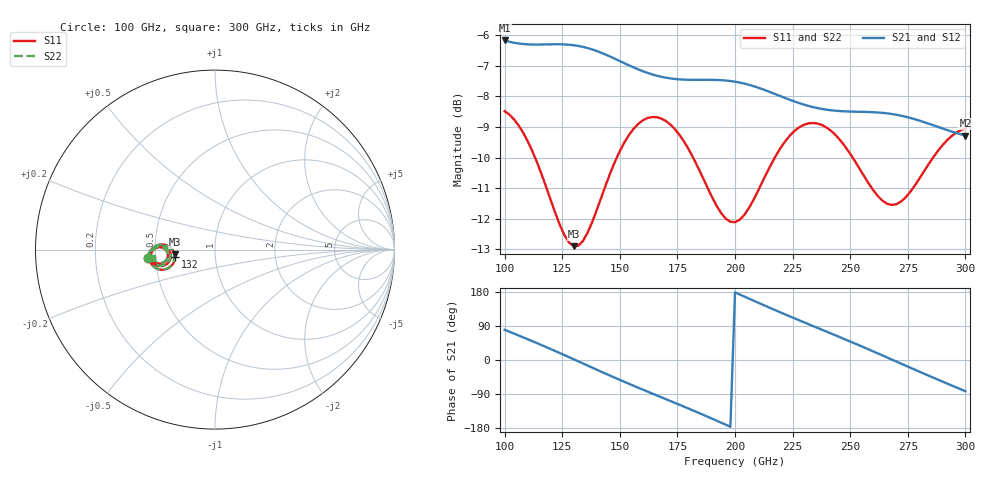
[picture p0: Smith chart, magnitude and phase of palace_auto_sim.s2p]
#  GHZ S DB R 50
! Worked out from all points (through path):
!   101 points, 100 GHz to 300 GHz, reference 50 ohm
!   highest |S21| = -6.17 dB at 100 GHz (marker M1); lowest = -9.3 dB at 300 GHz (marker M2)
!   group delay of S21, straight-line fit = 7.26 ps
!   lowest |S11| = -12.9 dB at 130 GHz (marker M3), VSWR 1.59, Z = 31.6 - j1.8 ohm
!   |S11| at or under -10 dB: 113.2 GHz to 148.7 GHz (35.53 GHz wide, 27.1 % of centre); 181.8 GHz to 217.3 GHz (35.53 GHz wide, 17.8 % of centre); 251 GHz to 286 GHz (34.96 GHz wide, 13 % of centre)
!   |S22| runs from -12.8 to -8.5 dB; largest |S21 - S12| = 7.4e-13
!   S11 on the Smith chart (normalised r, x): 100 GHz: 0.45, -0.05; 132 GHz: 0.63, -0.05; 300 GHz: 0.48, -0.05
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100  -8.48 -173.2  -6.17 79.8  -6.17 79.8  -8.47 -173.2
108  -9.18 178.8  -6.28 59.9  -6.28 59.9  -9.16 178.8
118  -10.96 174.4  -6.30 34.2  -6.30 34.2  -10.92 174.5
130  -12.90 -173.1  -6.32 1.9  -6.32 1.9  -12.84 -173.3
132  -12.88 -169.6  -6.35 -3.6  -6.35 -3.6  -12.82 -169.8
134  -12.73 -166.3  -6.38 -9.1  -6.38 -9.1  -12.67 -166.5
142  -11.30 -158.5  -6.57 -31.0  -6.57 -31.0  -11.26 -158.8
152  -9.50 -161.0  -6.91 -57.7  -6.91 -57.7  -9.48 -161.3
160  -8.78 -167.5  -7.17 -78.2  -7.17 -78.2  -8.77 -167.8
168  -8.72 -174.8  -7.36 -98.3  -7.36 -98.3  -8.71 -175.0
176  -9.27 179.0  -7.44 -118.4  -7.44 -118.4  -9.25 178.8
186  -10.65 175.9  -7.46 -144.1  -7.46 -144.1  -10.62 175.8
200  -12.12 -172.5  -7.52 178.4  -7.52 178.4  -12.06 -172.8
208  -11.39 -164.4  -7.66 156.8  -7.66 156.8  -11.35 -164.9
218  -9.91 -163.3  -7.94 130.2  -7.94 130.2  -9.89 -163.8
234  -8.87 -173.3  -8.35 89.3  -8.35 89.3  -8.87 -173.8
250  -9.88 177.9  -8.50 48.8  -8.50 48.8  -9.89 177.4
260  -11.07 179.4  -8.52 22.7  -8.52 22.7  -11.08 178.9
268  -11.55 -174.2  -8.57 1.4  -8.57 1.4  -11.57 -174.7
276  -11.13 -167.7  -8.70 -20.0  -8.70 -20.0  -11.15 -168.2
286  -10.00 -165.7  -8.94 -46.5  -8.94 -46.5  -10.02 -166.3
300  -9.05 -171.8  -9.28 -82.3  -9.28 -82.3  -9.08 -172.4
